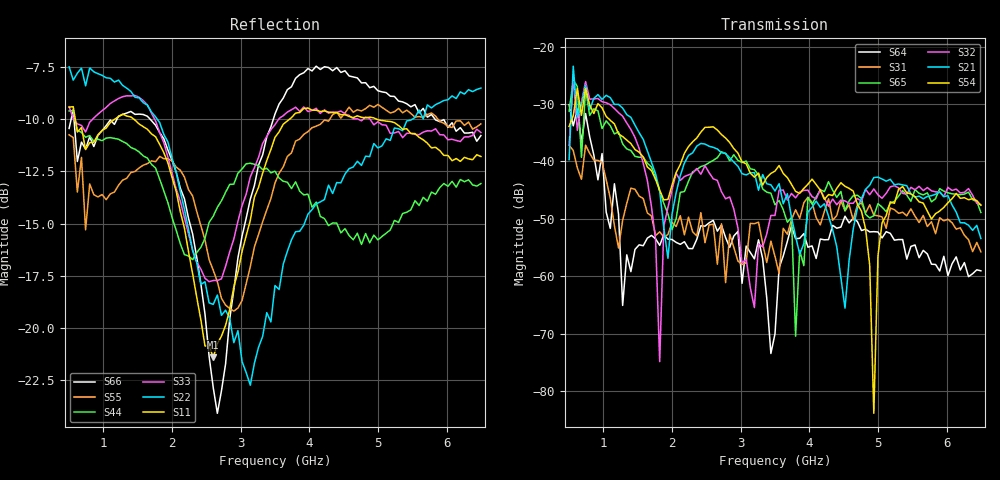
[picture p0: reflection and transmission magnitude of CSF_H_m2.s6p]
!Keysight Technologies,M9804A,MY58100912,A.14.10.03
!Date: Thursday, April 27, 2023 10:28:33
!Correction: S11(C  6-Port  )
!S12(C  6-Port  )
!S13(C  6-Port  )
!S14(C  6-Port  )
!S15(C  6-Port  )
!S16(C  6-Port  )
!S21(C  6-Port  )
!S22(C  6-Port  )
!S23(C  6-Port  )
!S24(C  6-Port  )
!S25(C  6-Port  )
!S26(C  6-Port  )
!S31(C  6-Port  )
!S32(C  6-Port  )
!S33(C  6-Port  )
!S34(C  6-Port  )
!S35(C  6-Port  )
!S36(C  6-Port  )
!S41(C  6-Port  )
!S42(C  6-Port  )
!S43(C  6-Port  )
!S44(C  6-Port  )
!S45(C  6-Port  )
!S46(C  6-Port  )
!S51(C  6-Port  )
!S52(C  6-Port  )
!S53(C  6-Port  )
!S54(C  6-Port  )
!S55(C  6-Port  )
!S56(C  6-Port  )
!S61(C  6-Port  )
!S62(C  6-Port  )
!S63(C  6-Port  )
!S64(C  6-Port  )
!S65(C  6-Port  )
!S66(C  6-Port  )
!S6P File: Measurement: :
# Hz S  RI  R 50
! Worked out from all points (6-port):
!   101 points, 500 MHz to 6.5 GHz, reference 50 ohm
!   strongest paths, dB at 500 MHz, 2 GHz, 3.5 GHz, 5 GHz, 6.5 GHz:
!     S54: -33.9, -44.1, -41.7, -56.5, -47.6
!     S21: -39.7, -49.2, -45.2, -42.7, -53.4
!     S32: -37.2, -44.9, -49.4, -45.8, -47.5
!     S65: -31.2, -51.9, -47.6, -47.4, -48.9
!     S31: -37.2, -50.6, -56.5, -49.5, -55.8
!     S64: -30.1, -53.6, -70.0, -52.3, -59.1
!   lowest |S11| = -21.4 dB at 2.6 GHz (marker M1), VSWR 1.19, Z = 42.4 + j2.17 ohm
!   |S11| at or under -10 dB: 589.2 MHz to 1.169 GHz (579.6 MHz wide, 65.9 % of centre); 1.44 GHz to 3.715 GHz (2.275 GHz wide, 88.3 % of centre); 4.976 GHz to end of sweep
